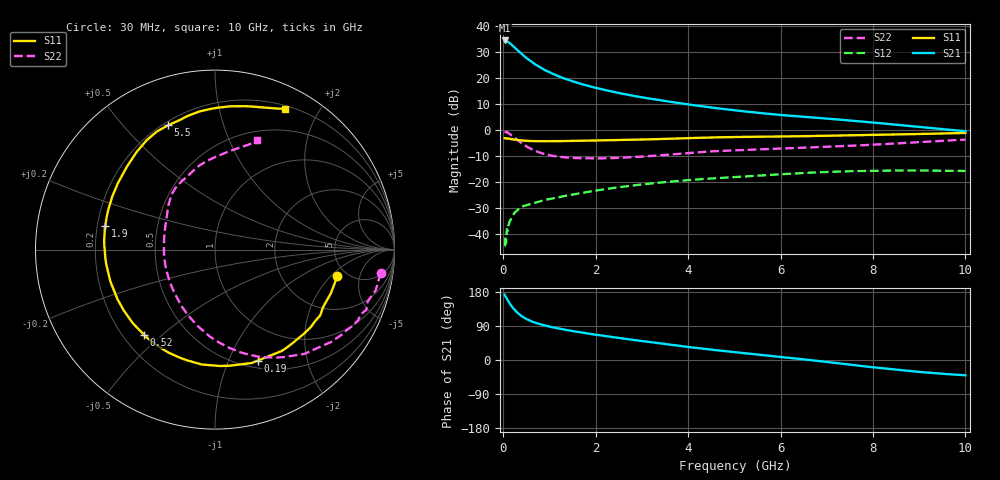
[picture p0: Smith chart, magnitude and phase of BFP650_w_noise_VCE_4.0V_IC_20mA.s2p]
! Infineon Technologies  Discrete & RF Semiconductors
! BFP650
! VCE =  4.0 V,  IC =  20 mA
! Common Emitter S-Parameters:  Jan 2016
# GHz  S  MA  R  50
!  f  S11  S21  S12  S22
! GHz  MAG  ANG  MAG  ANG  MAG  ANG  MAG  ANG
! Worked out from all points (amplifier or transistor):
!   229 points, 30 MHz to 10 GHz, reference 50 ohm
!   highest |S21| = 34.3 dB at 40 MHz (marker M1)
!   |S21| within 3 dB of that: start of sweep to 267.8 MHz
!   unconditionally stable (mu >= 1): 2.561 GHz to end of sweep
!   at 280 MHz: K = 0.27, MSG = 31.1 dB, |S12| = -31.2 dB
!   at 1.78 GHz: K = 0.90, MSG = 20.5 dB, |S12| = -23.9 dB
!   at 10 GHz: K = 1.04, MAG = 6.4 dB, |S12| = -15.7 dB
!   lowest NFmin = 0.66 dB at 450 MHz
!   S11 on the Smith chart (normalised r, x): 30 MHz: 4.19, -2.38; 190 MHz: 0.58, -1.28; 520 MHz: 0.28, -0.44; 1.9 GHz: 0.23, +0.10; 5.5 GHz: 0.22, +0.67; 10 GHz: 0.23, +1.58
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0.03  0.6968 -12.1  51.96 172.2  0.0059 52.1  0.9318 -8.0
0.04  0.6925 -16.1  52.03 169.8  0.0062 64.4  0.9265 -10.8
0.06  0.685 -23.8  51.36 165.8  0.0067 51.6  0.9114 -16.2
0.08  0.6915 -32.1  50.37 161.2  0.0125 77.4  0.9074 -21.7
0.11  0.6823 -43.2  48.62 155.1  0.0144 66.6  0.8736 -29.4
0.15  0.6763 -56.6  45.63 147.6  0.0182 57.7  0.8273 -38.4
0.19  0.6625 -69.0  42.56 140.8  0.0213 57.7  0.7757 -47.0
0.26  0.6491 -87.6  37.41 130.4  0.0267 51.9  0.6921 -60.4
0.34  0.636 -104.3  31.98 121.3  0.0309 48.0  0.6086 -73.1
0.45  0.6244 -121.6  26.18 111.6  0.0348 43.2  0.5175 -87.6
0.52  0.6175 -129.8  23.34 107.2  0.0364 42.2  0.4743 -95.1
0.7  0.6109 -146.3  17.89 98.0  0.0404 40.2  0.3946 -112.5
0.9  0.6075 -158.5  14.1 91.0  0.0456 40.1  0.3432 -127.7
1.3  0.6126 -175.3  9.855 80.7  0.0536 39.0  0.3002 -151.2
1.7  0.6209 172.7  7.563 72.5  0.0617 38.5  0.2866 -168.7
1.9  0.625 167.6  6.753 68.6  0.0659 37.9  0.2845 -176.1
3.4  0.6692 138.4  3.704 43.8  0.0979 28.6  0.3267 145.5
5.1  0.7339 115.2  2.328 19.4  0.1263 14.8  0.4104 121.5
5.5  0.7404 110.8  2.134 14.2  0.1329 11.8  0.4223 116.5
6.8  0.7681 98.4  1.705 -2.3  0.1537 0.1  0.4684 102.3
8.4  0.8156 78.4  1.286 -24.3  0.1662 -16.3  0.5441 83.5
10  0.8759 63.7  0.947 -40.3  0.1635 -28.4  0.6525 68.8
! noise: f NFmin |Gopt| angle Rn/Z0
0.45  0.66  0.07  93  1.58
0.9  0.68  0.18  172  0.18
1.9  0.84  0.29  -171  0.05
2.4  0.93  0.3  -156  0.06
3.5  1.21  0.34  -129  0.12
